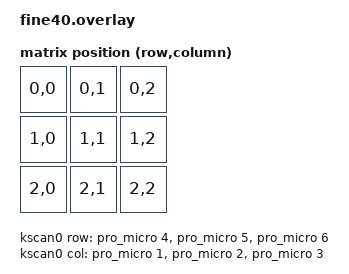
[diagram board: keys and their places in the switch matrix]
#include <dt-bindings/zmk/matrix_transform.h>

/ {
    chosen {
        zmk,kscan = &kscan0;
        zmk,matrix-transform = &default_transform;
        zmk,physical-layout = &layout_3x3;
    };

    // Sơ đồ quét ma trận phím (Sử dụng Diode từ Hàng đến Cột - row2col)
    kscan0: kscan_0 {
        compatible = "zmk,kscan-gpio-matrix";
        diode-direction = "row2col";
        wakeup-source;

        // Định nghĩa 3 chân cấp nguồn cho Hàng (D4, D5, D6)
        row-gpios
            = <&pro_micro 4 (GPIO_ACTIVE_HIGH | GPIO_PULL_DOWN)>
            , <&pro_micro 5 (GPIO_ACTIVE_HIGH | GPIO_PULL_DOWN)>
            , <&pro_micro 6 (GPIO_ACTIVE_HIGH | GPIO_PULL_DOWN)>
            ;

        // Định nghĩa 3 chân đọc dữ liệu từ Cột (D1, D2, D3)
        col-gpios
            = <&pro_micro 1 GPIO_ACTIVE_HIGH>
            , <&pro_micro 2 GPIO_ACTIVE_HIGH>
            , <&pro_micro 3 GPIO_ACTIVE_HIGH>
            ;
    };

    // Chuyển đổi tọa độ ma trận Row/Col thành danh sách phím tuyến tính
    default_transform: keymap_transform_0 {
        compatible = "zmk,matrix-transform";
        columns = <3>;
        rows = <3>;

        map = <
            RC(0,0) RC(0,1) RC(0,2)
            RC(1,0) RC(1,1) RC(1,2)
            RC(2,0) RC(2,1) RC(2,2)
        >;
    };

    // Định nghĩa vị trí phím ảo cho giao diện ZMK Studio hiển thị
    layout_3x3: layout_3x3 {
        compatible = "zmk,physical-layout";
        display-name = "Default 3x3";
        transform = <&default_transform>;
        kscan = <&kscan0>;

        // Đã sửa đổi: Tạo node con để bọc danh sách tọa độ phím đúng chuẩn ZMK Studio
        keys {
            compatible = "zmk,physical-layout-keys";
            
            // Định dạng: rộng cao x y (Đơn vị: 100 = 1U)
            k00: key_0 { width = <100>; height = <100>; x = <0>;   y = <0>; };
            k01: key_1 { width = <100>; height = <100>; x = <100>; y = <0>; };
            k02: key_2 { width = <100>; height = <100>; x = <200>; y = <0>; };

            k10: key_3 { width = <100>; height = <100>; x = <0>;   y = <100>; };
            k11: key_4 { width = <100>; height = <100>; x = <100>; y = <100>; };
            k12: key_5 { width = <100>; height = <100>; x = <200>; y = <100>; };

            k20: key_6 { width = <100>; height = <100>; x = <0>;   y = <200>; };
            k21: key_7 { width = <100>; height = <100>; x = <100>; y = <200>; };
            k22: key_8 { width = <100>; height = <100>; x = <200>; y = <200>; };
        };
    };
};
